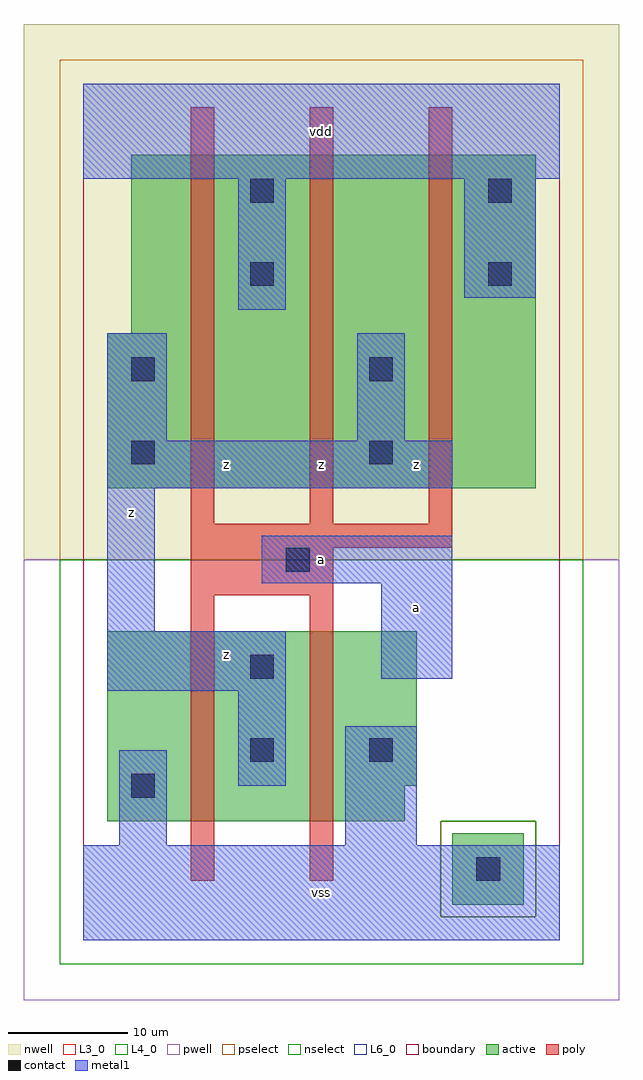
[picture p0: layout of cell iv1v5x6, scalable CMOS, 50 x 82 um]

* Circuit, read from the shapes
.subckt iv1v5x6 a vdd vss z
M1 z a vss vss nfet w=16u l=2u m=2
M2 vdd a z n1 pfet w=28u l=2u m=3
.ends

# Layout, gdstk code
import gdstk
lib = gdstk.Library(unit=1e-6, precision=1e-09)
def R(c, l, rs):  # rectangles x0, y0, x1, y1
    for r in rs: c.add(gdstk.rectangle(r[:2], r[2:], *l))
def A(c, l, x, y, w, h, nx, ny, dx, dy):  # array of equal rectangles
    R(c, l, [(x+i*dx, y+j*dy, x+i*dx+w, y+j*dy+h) for i in range(nx) for j in range(ny)])
L3_0 = (3, 0)
L4_0 = (4, 0)
L6_0 = (6, 0)
contact = (25, 0)
pwell = (41, 0)
nwell = (42, 0)
active = (43, 0)
pselect = (44, 0)
nselect = (45, 0)
poly = (46, 0)
metal1 = (49, 0)
boundary = (63, 0)

iv1v5x6 = lib.new_cell('iv1v5x6')
R(iv1v5x6, L3_0, [(2,10,27,13), (2,13,28,26)])
R(iv1v5x6, L4_0, [(2,38,38,51), (4,51,38,66)])
R(iv1v5x6, L6_0, [(31,3,37,9)])
R(iv1v5x6, contact, [(33,5,35,7), (4,12,6,14), (14,15,16,17), (24,15,26,17), (14,22,16,24), (17,31,19,33), (4,40,6,42), (24,40,26,42), (4,47,6,49), (24,47,26,49), (14,55,16,57), (34,55,36,57), (14,62,16,64), (34,62,36,64)])
R(iv1v5x6, pwell, [(-5,-5,45,32)])
R(iv1v5x6, nwell, [(-5,32,45,77)])
R(iv1v5x6, active, [(31,3,37,9), (2,10,27,13), (2,13,28,26), (2,38,38,51), (4,51,38,66)])
R(iv1v5x6, pselect, [(30,2,38,10), (-2,32,42,74)])
R(iv1v5x6, nselect, [(-2,-2,42,2), (-2,2,30,10), (38,2,42,10), (-2,10,42,32)])
A(iv1v5x6, poly, 9, 35, 2, 35, 3, 1, 10, 0)
R(iv1v5x6, poly, [(9,5,11,29), (19,5,21,29), (9,29,21,33), (9,33,31,35)])
R(iv1v5x6, metal1, [(0,0,40,8), (3,8,7,16), (22,8,28,18), (13,13,17,21), (2,21,17,26), (25,22,31,30), (2,26,6,38), (15,30,31,34), (2,38,31,42), (2,42,7,51), (23,42,27,51), (13,53,17,64), (32,54,38,64), (0,64,40,72)])
R(iv1v5x6, boundary, [(0,0,40,72)])
iv1v5x6.add(gdstk.Label('z', (4,36), layer=49, texttype=0))
iv1v5x6.add(gdstk.Label('z', (12,24), layer=49, texttype=0))
iv1v5x6.add(gdstk.Label('z', (12,40), layer=49, texttype=0))
iv1v5x6.add(gdstk.Label('vss', (20,4), layer=49, texttype=0))
iv1v5x6.add(gdstk.Label('a', (20,32), layer=49, texttype=0))
iv1v5x6.add(gdstk.Label('a', (28,28), layer=49, texttype=0))
iv1v5x6.add(gdstk.Label('z', (28,40), layer=49, texttype=0))
iv1v5x6.add(gdstk.Label('z', (20,40), layer=49, texttype=0))
iv1v5x6.add(gdstk.Label('vdd', (20,68), layer=49, texttype=0))

lib.write_gds('iv1v5x6.gds')
